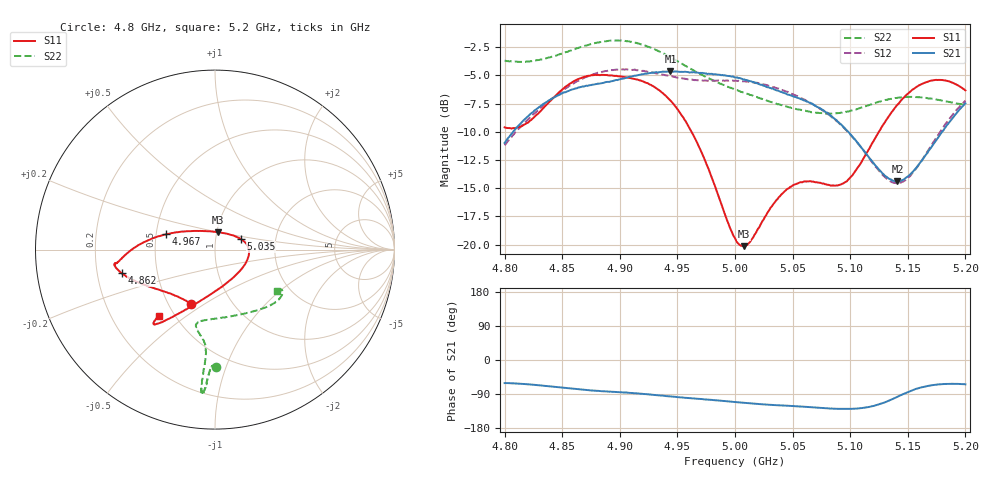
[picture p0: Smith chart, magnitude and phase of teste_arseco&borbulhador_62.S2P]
! Network Analyzer HP8722D
! Hewlett-Packard
! Data name: Linha & Wilkinson
! Saver's name: Rodrigo Anjos
! Comments: Teste da utilização de aquisição
! continua pelo VNA HP8722D
! Time and date: 15/4/2025 16:09
!  Frequency  S11  S21  S12  S22
# HZ  S  MA R 50
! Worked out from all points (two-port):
!   401 points, 4.8 GHz to 5.2 GHz, reference 50 ohm
!   highest |S21| = -4.63 dB at 4.944 GHz (marker M1); lowest = -14.4 dB at 5.141 GHz (marker M2)
!   |S21| within 3 dB of the highest: 4.832 GHz to 5.069 GHz (236.6 MHz wide, 4.78 % of centre); 5.198468 GHz to end of sweep
!   lowest |S11| = -20.1 dB at 5.008 GHz (marker M3), VSWR 1.22, Z = 50.9 + j9.94 ohm
!   |S11| at or under -10 dB: 4.962 GHz to 5.125 GHz (162.6 MHz wide, 3.22 % of centre)
!   |S22| runs from -8.4 to -1.9 dB; largest |S21 - S12| = 0.88
!   S11 on the Smith chart (normalised r, x): 4.8 GHz: 0.65, -0.44; 4.862 GHz: 0.31, -0.11; 4.967 GHz: 0.57, +0.11; 5.035 GHz: 1.32, +0.16; 5.2 GHz: 0.41, -0.39
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4.8e9  0.3312 -113.9  0.2825 -61.0  0.2758 -175.0  0.6542 -89.5
4.819e9  0.3453 -133.7  0.3655 -63.9  0.3532 -173.5  0.6487 -91.2
4.862e9  0.5366 -165.8  0.4932 -76.6  0.5265 -176.4  0.7404 -93.5
4.867e9  0.5489 -167.7  0.5006 -78.3  0.5432 -177.4  0.7536 -93.6
4.9e9  0.5572 -172.2  0.5403 -85.1  0.5976 175.8  0.8022 -95.2
4.934e9  0.4845 -178.2  0.5814 -93.5  0.5728 171.8  0.7195 -95.6
4.944e9  0.4353 177.4  0.5865 -96.3  0.5574 172.0  0.6774 -95.5
4.967e9  0.284 162.4  0.5796 -102.2  0.5358 173.9  0.5795 -95.0
5e9  0.1068 107.0  0.551 -111.0  0.5334 176.3  0.4872 -99.2
5.008e9  0.09841 79.3  0.5411 -113.2  0.5302 176.2  0.4709 -101.1
5.014e9  0.1049 60.9  0.5302 -114.6  0.5261 176.0  0.4605 -102.5
5.035e9  0.1551 22.5  0.4852 -119.1  0.4963 175.0  0.4241 -103.8
5.05e9  0.1828 6.6  0.4556 -121.5  0.4647 174.5  0.4039 -100.3
5.067e9  0.1902 -11.5  0.4208 -124.8  0.4217 173.9  0.3866 -91.9
5.086e9  0.1826 -42.0  0.3629 -128.4  0.361 173.7  0.381 -77.7
5.097e9  0.1906 -65.1  0.3208 -129.2  0.3204 174.5  0.3884 -68.5
5.134e9  0.3733 -116.2  0.1956 -106.8  0.1921 -159.7  0.4418 -43.4
5.141e9  0.4171 -120.2  0.1909 -97.0  0.1875 -148.7  0.4478 -40.3
5.152e9  0.476 -124.6  0.2045 -82.1  0.201 -131.3  0.4517 -36.2
5.17e9  0.5332 -128.6  0.2681 -66.9  0.2733 -113.1  0.4442 -32.1
5.184e9  0.5322 -130.0  0.3389 -63.1  0.3492 -107.3  0.4314 -31.1
5.2e9  0.4829 -130.5  0.4232 -64.2  0.4353 -106.0  0.4155 -33.5
